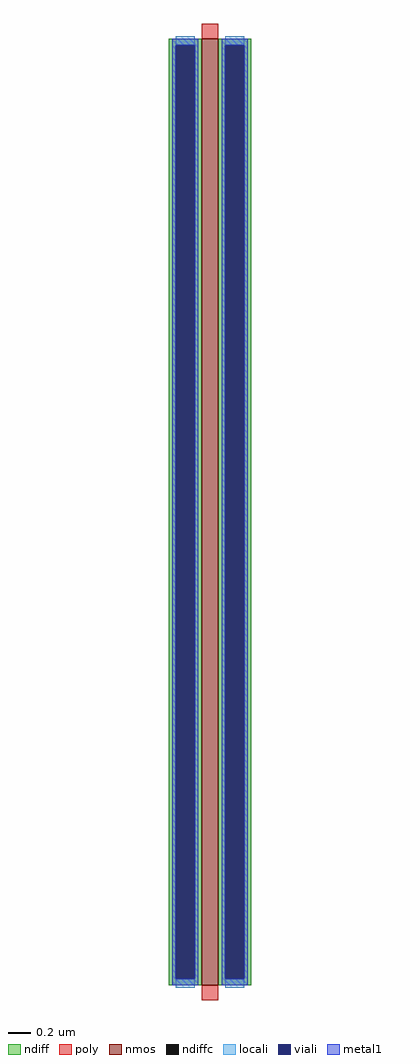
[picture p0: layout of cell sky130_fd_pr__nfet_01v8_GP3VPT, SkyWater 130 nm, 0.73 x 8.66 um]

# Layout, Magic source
magic
tech sky130A
magscale 1 2
<< nmos >>
rect -15 -840 15 840
<< ndiff >>
rect -73 828 -15 840
rect -73 -828 -61 828
rect -27 -828 -15 828
rect -73 -840 -15 -828
rect 15 828 73 840
rect 15 -828 27 828
rect 61 -828 73 828
rect 15 -840 73 -828
<< ndiffc >>
rect -61 -828 -27 828
rect 27 -828 61 828
<< poly >>
rect -15 840 15 866
rect -15 -866 15 -840
<< locali >>
rect -61 828 -27 844
rect -61 -844 -27 -828
rect 27 828 61 844
rect 27 -844 61 -828
<< viali >>
rect -61 -828 -27 828
rect 27 -828 61 828
<< metal1 >>
rect -67 828 -21 840
rect -67 -828 -61 828
rect -27 -828 -21 828
rect -67 -840 -21 -828
rect 21 828 67 840
rect 21 -828 27 828
rect 61 -828 67 828
rect 21 -840 67 -828
<< properties >>
string gencell sky130_fd_pr__nfet_01v8
string parameters w 8.4 l 0.150 m 1 nf 1 diffcov 100 polycov 100 guard 0 glc 0 grc 0 gtc 0 gbc 0 tbcov 100 rlcov 100 topc 0 botc 0 poverlap 0 doverlap 0 lmin 0.15 wmin 0.42 compatible {sky130_fd_pr__nfet_01v8 sky130_fd_pr__nfet_01v8_lvt  sky130_fd_bs_flash__special_sonosfet_star  sky130_fd_pr__nfet_g5v0d10v5 sky130_fd_pr__nfet_05v0_nvt} full_metal 0 viasrc 100 viadrn 100 viagate 100 viagb 0 viagr 0 viagl 0 viagt 0
string library sky130
<< end >>
